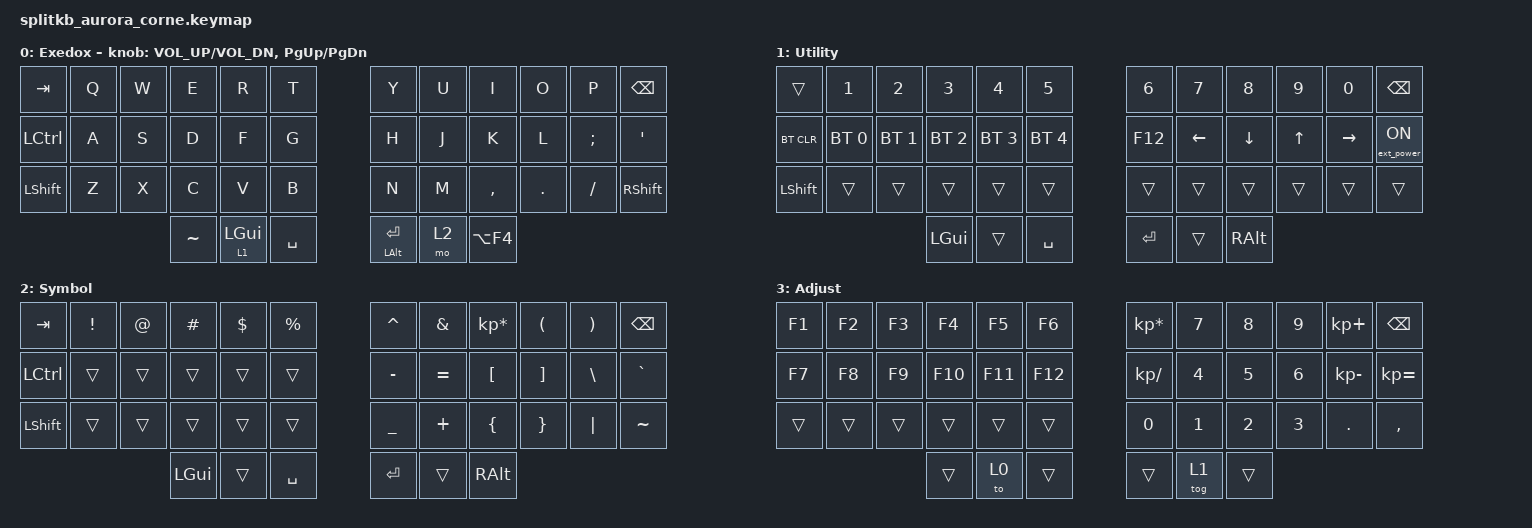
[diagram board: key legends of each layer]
/*
 * Copyright (c) 2020 The ZMK Contributors
 *
 * SPDX-License-Identifier: MIT
 */

#include <behaviors.dtsi>
#include <dt-bindings/zmk/bt.h>
#include <dt-bindings/zmk/ext_power.h>
#include <dt-bindings/zmk/keys.h>

/ {
    combos {
        compatible = "zmk,combos";

        Copy {
            bindings = <&kp LC(C)>;
            key-positions = <27 26>;
        };

        Paste {
            bindings = <&kp LC(V)>;
            key-positions = <28 29>;
        };

        PrintScrn {
            bindings = <&kp LA(PRINTSCREEN)>;
            key-positions = <16 17>;
        };

        Delete {
            bindings = <&kp DEL>;
            key-positions = <10 11>;
            layers = <0 3>;
        };

        Pass {
            bindings = <&kp LC(LS(L))>;
            key-positions = <21 22>;
        };

        Cut {
            bindings = <&kp LC(X)>;
            key-positions = <25 26>;
        };

        Adjust {
            bindings = <&to 3>;
            key-positions = <37 40>;
        };

        F4_Combo {
            bindings = <&kp F4>;
            key-positions = <3 4>;
        };

        F5_Combo {
            bindings = <&kp F5>;
            key-positions = <4 5>;
        };

        F3_Combo {
            bindings = <&kp F3>;
            key-positions = <2 3>;
        };

        selall {
            bindings = <&kp LC(A)>;
            key-positions = <12 13>;
        };

        caps {
            bindings = <&kp CAPSLOCK>;
            key-positions = <1 10>;
        };

        shift {
            bindings = <&kp ESCAPE>;
            key-positions = <35 23>;
        };

        winr {
            bindings = <&kp LG(LS(RIGHT))>;
            key-positions = <0 11>;
        };
    };

    keymap {
        compatible = "zmk,keymap";

        default_layer {
            // -----------------------------------------------------------------------------------------
            // |  TAB |  Q  |  W  |  E  |  R  |  T  |   |  Y  |  U   |  I  |  O  |  P  | BKSP |
            // | CTRL |  A  |  S  |  D  |  F  |  G  |   |  H  |  J   |  K  |  L  |  ;  |  '   |
            // | SHFT |  Z  |  X  |  C  |  V  |  B  |   |  N  |  M   |  ,  |  .  |  /  | ESC  |
            //                    | GUI | LWR | SPC |   | ENT | RSE  | ALT |

            bindings = <
&kp TAB    &kp Q  &kp W  &kp E      &kp R           &kp T        &kp Y           &kp U  &kp I       &kp O    &kp P     &kp BSPC
&kp LCTRL  &kp A  &kp S  &kp D      &kp F           &kp G        &kp H           &kp J  &kp K       &kp L    &kp SEMI  &kp SQT
&kp LSHFT  &kp Z  &kp X  &kp C      &kp V           &kp B        &kp N           &kp M  &kp COMMA   &kp DOT  &kp FSLH  &kp RIGHT_SHIFT
                         &kp TILDE  &lt 1 LEFT_GUI  &kp SPACE    &mt LALT ENTER  &mo 2  &kp LA(F4)
            >;

            sensor-bindings =
                <&inc_dec_kp C_VOL_UP C_VOL_DN>,
                <&inc_dec_kp PAGE_UP PAGE_DOWN>;

            display-name = "Exedox";
        };

        lower_layer {
            // -----------------------------------------------------------------------------------------
            // |  TAB |  1  |  2  |  3  |  4  |  5  |   |  6  |  7  |  8  |  9  |  0  | BKSP |
            // | BTCLR| BT1 | BT2 | BT3 | BT4 | BT5 |   | LFT | DWN |  UP | RGT |     |      |
            // | SHFT |     |     |     |     |     |   |     |     |     |     |     |      |
            //                    | GUI |     | SPC |   | ENT |     | ALT |

            bindings = <
&trans      &kp N1        &kp NUMBER_2  &kp N3        &kp N4        &kp N5          &kp NUMBER_6  &kp N7          &kp N8          &kp N9        &kp N0           &kp BSPC
&bt BT_CLR  &bt BT_SEL 0  &bt BT_SEL 1  &bt BT_SEL 2  &bt BT_SEL 3  &bt BT_SEL 4    &kp F12       &kp LEFT_ARROW  &kp DOWN_ARROW  &kp UP_ARROW  &kp RIGHT_ARROW  &ext_power EP_ON
&kp LSHFT   &trans        &trans        &trans        &trans        &trans          &trans        &trans          &trans          &trans        &trans           &trans
                                        &kp LGUI      &trans        &kp SPACE       &kp RET       &trans          &kp RALT
            >;

            display-name = "Utility";
        };

        raise_layer {
            // -----------------------------------------------------------------------------------------
            // |  TAB |  !  |  @  |  #  |  $  |  %  |   |  ^  |  &  |  *  |  (  |  )  | BKSP |
            // | CTRL |     |     |     |     |     |   |  -  |  =  |  [  |  ]  |  \  |  `   |
            // | SHFT |     |     |     |     |     |   |  _  |  +  |  {  |  }  | "|" |  ~   |
            //                    | GUI |     | SPC |   | ENT |     | ALT |

            bindings = <
&kp TAB    &kp EXCL  &kp AT  &kp HASH  &kp DLLR  &kp PRCNT    &kp CARET  &kp AMPS   &kp KP_MULTIPLY  &kp LPAR  &kp RPAR  &kp BSPC
&kp LCTRL  &trans    &trans  &trans    &trans    &trans       &kp MINUS  &kp EQUAL  &kp LBKT         &kp RBKT  &kp BSLH  &kp GRAVE
&kp LSHFT  &trans    &trans  &trans    &trans    &trans       &kp UNDER  &kp PLUS   &kp LBRC         &kp RBRC  &kp PIPE  &kp TILDE
                             &kp LGUI  &trans    &kp SPACE    &kp RET    &trans     &kp RALT
            >;

            display-name = "Symbol";
        };

        Adjust_layer {
            bindings = <
&kp F1  &kp F2  &kp F3  &kp F4   &kp F5   &kp F6     &kp KP_ASTERISK  &kp N7  &kp N8        &kp N9        &kp KP_PLUS   &kp BACKSPACE
&kp F7  &kp F8  &kp F9  &kp F10  &kp F11  &kp F12    &kp KP_DIVIDE    &kp N4  &kp N5        &kp NUMBER_6  &kp KP_MINUS  &kp KP_EQUAL
&trans  &trans  &trans  &trans   &trans   &trans     &kp N0           &kp N1  &kp NUMBER_2  &kp N3        &kp PERIOD    &kp COMMA
                        &trans   &to 0    &trans     &trans           &tog 1  &trans
            >;

            display-name = "Adjust";
        };
    };
};
